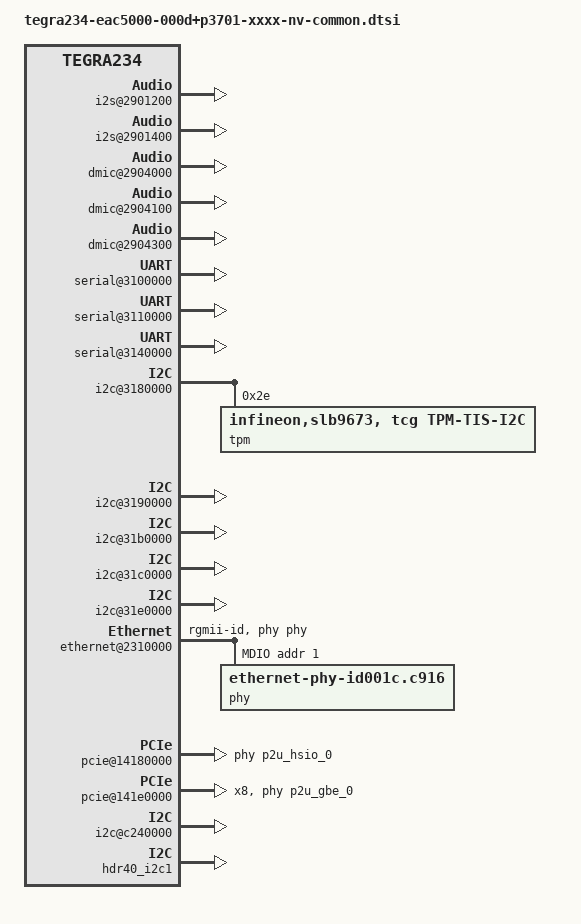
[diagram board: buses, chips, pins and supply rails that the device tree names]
// SPDX-License-Identifier: GPL-2.0-only
// SPDX-FileCopyrightText: Copyright (c) 2022-2024, NVIDIA CORPORATION & AFFILIATES.  All rights reserved.

#include "nv-soc/tegra234-overlay.dtsi"
#include "nv-soc/tegra234-soc-thermal.dtsi"
#include "nv-soc/tegra234-soc-thermal-slowdown-cluster.dtsi"
#include "nv-soc/tegra234-soc-thermal-shutdown.dtsi"
#include "nv-soc/tegra234-soc-thermal-trip-event.dtsi"
#include "nv-soc/tegra234-soc-audio-dai-links.dtsi"
#include "nv-soc/tegra234-soc-camera.dtsi"
#include "tegra234-eac5000-000d.dtsi"
#include "tegra234-dcb-eac5000-000d-p3701-0000.dtsi"

/ {
	aliases {
		serial1 = "/bus@0/serial@3100000";
		serial2 = "/bus@0/serial@3140000";
		serial3 = "/bus@0/serial@3110000";
	};

	cpus {
		idle-states {
			c7 {
				status = "okay";
			};
		};
	};

	nvpmodel {
		status = "okay";
	};

	scf-pmu {
		status = "okay";
	};

	soctherm-oc-event {
		status = "okay";
	};

	thermal-zones {
		cpu-thermal {
			status = "okay";
		};

		cv0-thermal {
			status = "okay";
		};

		cv1-thermal {
			status = "okay";
		};

		cv2-thermal {
			status = "okay";
		};

		gpu-thermal {
			status = "okay";
		};

		soc0-thermal {
			status = "okay";
		};

		soc1-thermal {
			status = "okay";
		};

		soc2-thermal {
			status = "okay";
		};
	};

	bus@0 {
		smmu_test {
			compatible = "nvidia,smmu_test";
			iommus = <&smmu_niso0 TEGRA234_SID_SMMU_TEST>;
			status = "okay";
		};

		pinmux@2430000 {
			status = "okay";
		};

		aconnect@2900000 {
			ahub@2900800 {
				i2s@2901200 {
					status = "okay";
				};

				i2s@2901400 {
					status = "okay";
				};

				dmic@2904000 {
					status = "okay";
				};

				dmic@2904100 {
					status = "okay";
				};

				dmic@2904300 {
					status = "okay";
				};

				dspk@2905000 {
					status = "okay";
				};

				dspk@2905100 {
					status = "okay";
				};

				afc@2907000 {
					status = "okay";
				};

				afc@2907100 {
					status = "okay";
				};

				afc@2907200 {
					status = "okay";
				};

				afc@2907300 {
					status = "okay";
				};

				afc@2907400 {
					status = "okay";
				};

				afc@2907500 {
					status = "okay";
				};

				arad@290e400 {
					status = "okay";
				};
			};
		};

		serial@3100000 {
			compatible = "nvidia,tegra194-hsuart";
			reset-names = "serial";
			status = "okay";
		};

		serial@3110000 {
			compatible = "nvidia,tegra194-hsuart";
			reset-names = "serial";
			status = "okay";
		};

		serial@3140000 {
			compatible = "nvidia,tegra194-hsuart";
			reset-names = "serial";
			/delete-property/ dmas;
			/delete-property/ dma-names;
			status = "okay";
		};

		i2c@3180000 {
			status = "okay";

			tpm@2e {
				compatible = "infineon,slb9673, tcg,tpm-tis-i2c";
				#address-cells = <2>;
				#size-cells = <1>;
				reg = <0x2e>;
				status = "okay";
			};
		};

		i2c@3190000 {
			status = "okay";
		};

		i2c@31b0000 {
			nvidia,hw-instance-id = <0x5>;
			status = "okay";
		};

		i2c@31c0000 {
			status = "okay";
		};

		i2c@31e0000 {
			status = "okay";
		};

		tachometer@39c0000 {
			status = "okay";
		};

		hsp@3d00000 {
			status = "okay";
		};

		ethernet@2310000 {
			status = "okay";

			nvidia,phy-reset-gpio = <&gpio TEGRA234_MAIN_GPIO(G, 5) 0>;
			nvidia,max-platform-mtu = <16383>;
			nvidia,mac-addr-idx = <0>;
			phy-mode = "rgmii-id";
			phy-handle = <&phy>;

			mdio {
				compatible = "nvidia,eqos-mdio";
				#address-cells = <1>;
				#size-cells = <0>;

				phy: phy@1 {
					reg = <1>;
					compatible = "ethernet-phy-id001c.c916";
					device_type = "ethernet-phy";
					nvidia,phy-rst-pdelay-msec = <224>; /* msec */
					nvidia,phy-rst-duration-usec = <10000>; /* usec */
				};
			};
		};

		ethernet@6800000 {
			status = "disabled";
		};

		pcie@14180000 {
			status = "okay";

			phys = <&p2u_hsio_0>;
			phy-names = "p2u-0";
			nvidia,pex-wake-gpios = <&gpio TEGRA234_MAIN_GPIO(L, 2) GPIO_ACTIVE_LOW>;
		};

		pcie@141e0000 {
			status = "okay";

			num-lanes = <8>;
			phys = <&p2u_gbe_0>, <&p2u_gbe_1>, <&p2u_gbe_2>,
				<&p2u_gbe_3>, <&p2u_gbe_4>, <&p2u_gbe_5>,
				<&p2u_gbe_6>, <&p2u_gbe_7>;
			phy-names = "p2u-0", "p2u-1", "p2u-2", "p2u-3",
				"p2u-4", "p2u-5", "p2u-6", "p2u-7";
		};

		aon@c000000 {
			status = "okay";
		};

		hardware-timestamp@c1e0000 {
			status = "okay";
			nvidia,num-slices = <3>;
		};

		i2c@c240000 {
			status = "okay";
		};

		hdr40_i2c1: i2c@c250000 {
			status = "okay";
		};

		rtc@c2a0000 {
			status = "okay";
		};

		mttcan@c310000 {
			status = "okay";
		};

		mttcan@c320000 {
			status = "okay";
		};

		actmon@d230000 {
			status = "okay";
		};

		hwpm@f100000 {
			status = "okay";
		};

		mc-hwpm@2c10000 {
			status = "okay";
		};

		host1x@13e00000 {
			nvjpg@15380000 {
				status = "okay";
			};

			nvdec@15480000 {
				status = "okay";
			};

			nvenc@154c0000 {
				status = "okay";
			};

			tsec@15500000 {
				status = "okay";
			};

			nvjpg@15540000 {
				status = "okay";
			};

			crypto@15810000 {
				status = "okay";
			};

			crypto@15820000 {
				status = "okay";
			};

			crypto@15840000 {
				status = "okay";
			};

			nvdla0@15880000 {
				status = "okay";
			};

			nvdla1@158c0000 {
				status = "okay";
			};

			ofa@15a50000 {
				status = "okay";
			};

			pva0@16000000 {
				status = "okay";

				pva0_niso1_ctx0 {
					status = "okay";
				};

				pva0_niso1_ctx1 {
					status = "okay";
				};

				pva0_niso1_ctx2 {
					status = "okay";
				};

				pva0_niso1_ctx3 {
					status = "okay";
				};

				pva0_niso1_ctx4 {
					status = "okay";
				};

				pva0_niso1_ctx5 {
					status = "okay";
				};

				pva0_niso1_ctx6 {
					status = "okay";
				};

				pva0_niso1_ctx7 {
					status = "okay";
				};
			};
		};

		gpu@17000000 {
			status = "okay";
		};

		pcie-ep@141a0000 {
			nvidia,refclk-select-gpios = <&gpio
							TEGRA234_MAIN_GPIO(Q, 4)
							GPIO_ACTIVE_HIGH>;
		};
	};

	tegra-hsp@b950000 {
		status = "okay";
	};

	dce@d800000 {
		status = "okay";
	};

	tegra_mce@e100000 {
		status = "okay";
	};

	display@13800000 {
		/* os_gpio_hotplug_a is used for hotplug */
		os_gpio_hotplug_a = <&gpio TEGRA234_MAIN_GPIO(M, 0) GPIO_ACTIVE_HIGH>;
		status = "okay";
	};
};
